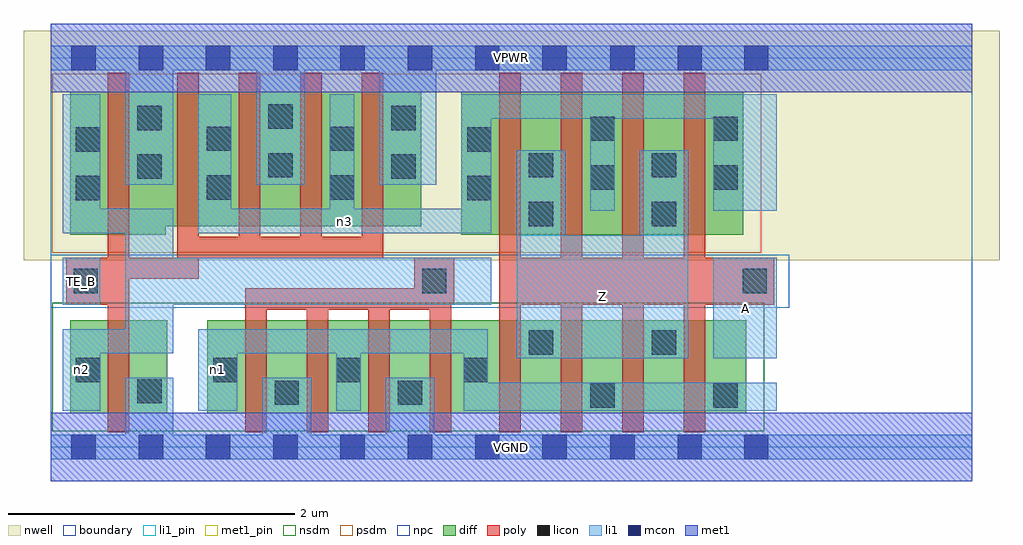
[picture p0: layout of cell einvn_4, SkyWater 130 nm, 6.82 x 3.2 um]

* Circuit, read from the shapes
.subckt einvn_4 A TE_B VGND VPWR Z n1 n2 n3
XM1 VGND TE_B n2 VSUBS sky130_fd_pr__nfet_01v8 w=0.65 l=0.15
XM2 VGND n2 n1 VSUBS sky130_fd_pr__nfet_01v8 w=0.65 l=0.15 m=4
XM3 Z A n1 VSUBS sky130_fd_pr__nfet_01v8 w=0.65 l=0.15 m=4
XM4 VPWR TE_B n2 n4 sky130_fd_pr__pfet_01v8 w=1 l=0.15
XM5 n3 TE_B VPWR n4 sky130_fd_pr__pfet_01v8 w=0.94 l=0.15 m=4
XM6 Z A n3 n4 sky130_fd_pr__pfet_01v8 w=1 l=0.15 m=4
.ends

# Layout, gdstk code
import gdstk
lib = gdstk.Library(unit=1e-6, precision=1e-09)
def R(c, l, rs):  # rectangles x0, y0, x1, y1
    for r in rs: c.add(gdstk.rectangle(r[:2], r[2:], *l))
def A(c, l, x, y, w, h, nx, ny, dx, dy):  # array of equal rectangles
    R(c, l, [(x+i*dx, y+j*dy, x+i*dx+w, y+j*dy+h) for i in range(nx) for j in range(ny)])
nwell = (64, 20)
diff = (65, 20)
poly = (66, 20)
licon = (66, 44)
li1_pin = (67, 16)
li1 = (67, 20)
mcon = (67, 44)
met1_pin = (68, 16)
met1 = (68, 20)
nsdm = (93, 44)
psdm = (94, 20)
npc = (95, 20)
boundary = (235, 4)

einvn_4 = lib.new_cell('einvn_4')
R(einvn_4, nwell, [(-0.19,1.305,6.63,2.91), (0,1.305,6.44,2.91)])
R(einvn_4, diff, [(0.135,0.235,0.815,0.885), (1.095,0.235,4.86,0.885), (0.135,1.485,0.805,2.485), (2.87,1.485,4.84,2.485), (0.135,1.545,2.59,2.485)])
A(einvn_4, poly, 1.36, 0.105, 0.15, 1.005, 3, 1, 0.43, 0)
A(einvn_4, poly, 3.135, 0.105, 0.15, 2.51, 4, 1, 0.43, 0)
A(einvn_4, poly, 1.315, 1.32, 0.15, 1.295, 3, 1, 0.43, 0)
R(einvn_4, poly, [(0.4,0.105,0.55,2.615), (2.65,0.105,2.8,1.325), (1.36,0.96,2.8,1.11), (0.11,0.995,0.55,1.325), (2.54,0.995,2.82,1.325), (3.135,0.995,5.055,1.325), (0.11,1.175,1.035,1.325), (0.885,1.175,1.035,2.615), (0.885,1.32,2.325,1.47)])
R(einvn_4, licon, [(3.77,0.275,3.94,0.445), (4.63,0.275,4.8,0.445), (1.565,0.295,1.735,0.465), (2.425,0.295,2.595,0.465), (0.605,0.305,0.775,0.475), (0.175,0.455,0.345,0.625), (1.135,0.455,1.305,0.625), (1.995,0.455,2.165,0.625), (2.885,0.455,3.055,0.625), (3.34,0.645,3.51,0.815), (4.2,0.645,4.37,0.815), (0.16,1.075,0.33,1.245), (2.595,1.075,2.765,1.245), (4.835,1.075,5.005,1.245), (3.34,1.545,3.51,1.715), (4.2,1.545,4.37,1.715), (0.175,1.725,0.345,1.895), (2.91,1.725,3.08,1.895), (1.09,1.73,1.26,1.9), (1.95,1.73,2.12,1.9), (3.77,1.8,3.94,1.97), (4.63,1.8,4.8,1.97), (0.605,1.875,0.775,2.045), (2.38,1.875,2.55,2.045), (1.52,1.885,1.69,2.055), (3.34,1.885,3.51,2.055), (4.2,1.885,4.37,2.055), (0.175,2.065,0.345,2.235), (2.91,2.065,3.08,2.235), (1.09,2.07,1.26,2.24), (1.95,2.07,2.12,2.24), (3.77,2.14,3.94,2.31), (4.63,2.14,4.8,2.31), (0.605,2.215,0.775,2.385), (2.38,2.215,2.55,2.385), (1.52,2.225,1.69,2.395)])
R(einvn_4, li1_pin, [(3.255,0.62,4.455,1.48), (4.63,0.62,5.075,1.325), (0.085,0.995,0.345,1.325)])
R(einvn_4, li1, [(0,-0.085,6.44,0.085), (0.52,-0.085,0.855,0.485), (1.48,-0.085,1.82,0.485), (2.34,-0.085,2.68,0.485), (0.085,0.255,0.345,0.825), (1.03,0.255,1.305,0.825), (1.995,0.255,2.165,0.825), (2.885,0.255,3.055,0.825), (2.885,0.255,5.075,0.45), (3.255,0.62,4.455,1.48), (3.255,0.62,3.595,2.075), (4.115,0.62,4.455,2.075), (4.63,0.62,5.075,1.325), (0.085,0.655,0.855,0.825), (0.52,0.655,0.855,1.665), (1.03,0.655,3.055,0.825), (0.085,0.995,0.345,1.325), (0.52,0.995,3.08,1.325), (0.085,1.495,0.855,1.665), (0.085,1.495,0.345,2.465), (1.03,1.495,3.08,1.665), (1.03,1.495,1.26,2.465), (1.95,1.495,2.12,2.465), (2.87,1.495,3.08,2.465), (3.77,1.65,3.94,2.465), (4.63,1.65,5.075,2.465), (0.52,1.835,0.855,2.805), (1.435,1.835,1.775,2.805), (2.295,1.835,2.695,2.805), (2.87,2.295,5.075,2.465), (0,2.635,6.44,2.805)])
A(einvn_4, mcon, 0.145, -0.085, 0.17, 0.17, 8, 2, 0.47, 2.72)
R(einvn_4, mcon, [(3.91,-0.085,4.08,0.085), (4.38,-0.085,4.55,0.085), (4.845,-0.085,5.015,0.085), (3.91,2.635,4.08,2.805), (4.38,2.635,4.55,2.805), (4.845,2.635,5.015,2.805)])
R(einvn_4, met1_pin, [(0,-0.24,6.44,0.24), (0,2.48,6.44,2.96)])
R(einvn_4, met1, [(0,-0.24,6.44,0.24), (0,2.48,6.44,2.96)])
R(einvn_4, nsdm, [(0.01,0.11,4.985,1.01)])
R(einvn_4, psdm, [(0.01,1.36,4.965,2.61)])
R(einvn_4, npc, [(0,0.975,5.16,1.345)])
R(einvn_4, boundary, [(0,0,6.44,2.72)])
einvn_4.add(gdstk.Label('A', (4.852,0.972), layer=67, texttype=5))
einvn_4.add(gdstk.Label('TE_B', (0.215,1.16), layer=67, texttype=5))
einvn_4.add(gdstk.Label('Z', (3.855,1.05), layer=67, texttype=5))
einvn_4.add(gdstk.Label('n1', (1.167,0.54), layer=67, texttype=5))
einvn_4.add(gdstk.Label('n2', (0.215,0.54), layer=67, texttype=5))
einvn_4.add(gdstk.Label('n3', (2.055,1.58), layer=67, texttype=5))
einvn_4.add(gdstk.Label('VPWR', (3.22,2.72), layer=68, texttype=5))
einvn_4.add(gdstk.Label('VGND', (3.22,0), layer=68, texttype=5))
einvn_4.add(gdstk.Label('A', (4.852,0.972), layer=67, texttype=16))
einvn_4.add(gdstk.Label('TE_B', (0.215,1.16), layer=67, texttype=16))
einvn_4.add(gdstk.Label('Z', (3.855,1.05), layer=67, texttype=16))
einvn_4.add(gdstk.Label('VPWR', (3.22,2.72), layer=68, texttype=16))
einvn_4.add(gdstk.Label('VGND', (3.22,0), layer=68, texttype=16))

lib.write_gds('einvn_4.gds')
